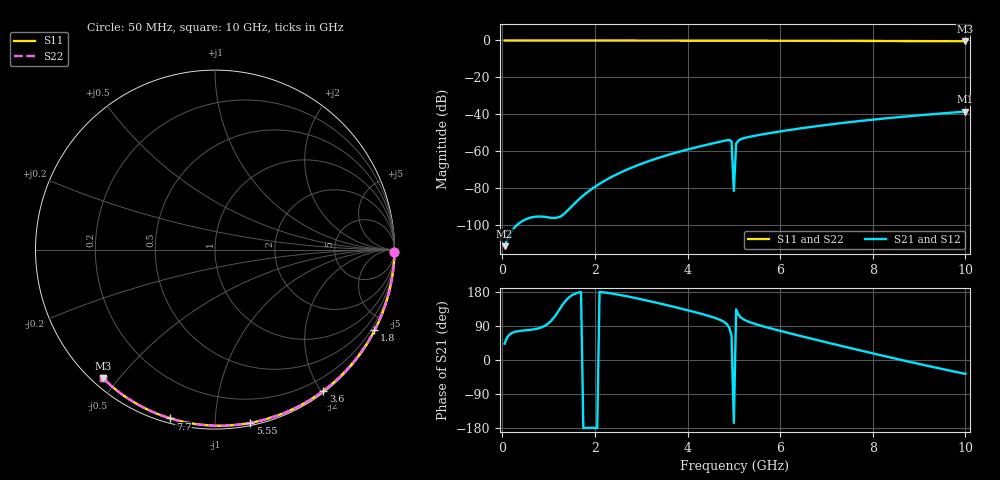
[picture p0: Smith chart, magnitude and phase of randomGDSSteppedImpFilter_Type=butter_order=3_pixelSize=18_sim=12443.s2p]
! freq	dB(S11)	phase(S11)	dB(S12)	phase(S12)
!  dB(S21)	phase(S21)	dB(S22)	phase(S22)
!S-par simulation data
#  GHz  S  DB  R 50
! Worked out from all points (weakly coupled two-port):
!   200 points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, 50 MHz to 10 GHz, reference 50 ohm
!   highest |S21| = -38.48 dB at 10 GHz (marker M1); lowest = -111.3 dB at 50 MHz (marker M2)
!   lowest |S11| = -0.4 dB at 10 GHz (marker M3), VSWR 38.80, Z = 1.56 - j22.7 ohm
!   |S11| at or under -10 dB: nowhere
!   |S22| runs from -0.4 to 0.0 dB; largest |S21 - S12| = 0
!   S11 on the Smith chart (normalised r, x): 50 MHz: open; 1.8 GHz: 0.04, -4.19; 3.6 GHz: 0.02, -2.03; 5.55 GHz: 0.02, -1.22; 7.7 GHz: 0.02, -0.77; 10 GHz: 0.03, -0.45
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0.05  -0.00 -0.8  -111.32 43.1  -111.32 43.1  -0.00 -0.8
0.9  -0.02 -13.6  -95.42 89.2  -95.42 89.2  -0.02 -13.6
1.75  -0.03 -26.1  -83.89 -179.7  -83.89 -179.7  -0.03 -26.1
1.8  -0.03 -26.9  -82.86 -179.1  -82.86 -179.1  -0.03 -26.9
1.95  -0.04 -29.1  -80.05 -178.9  -80.05 -178.9  -0.04 -29.1
2.25  -0.04 -33.4  -75.34 177.5  -75.34 177.5  -0.04 -33.4
2.55  -0.05 -37.7  -71.49 171.5  -71.49 171.5  -0.05 -37.7
2.95  -0.06 -43.4  -67.26 161.6  -67.26 161.6  -0.06 -43.4
3.4  -0.07 -49.8  -63.33 149.2  -63.33 149.2  -0.07 -49.8
3.6  -0.07 -52.5  -61.79 143.4  -61.79 143.4  -0.07 -52.5
4.2  -0.09 -60.7  -57.74 125.1  -57.74 125.1  -0.09 -60.7
4.9  -0.11 -70.1  -53.83 85.6  -53.83 85.6  -0.11 -70.1
4.95  -0.11 -70.8  -54.56 64.2  -54.56 64.2  -0.11 -70.8
5  -0.13 -71.3  -81.41 -166.0  -81.41 -166.0  -0.13 -71.3
5.05  -0.12 -72.0  -55.81 133.4  -55.81 133.4  -0.12 -72.0
5.1  -0.12 -72.6  -54.10 119.1  -54.10 119.1  -0.12 -72.6
5.15  -0.12 -73.3  -53.43 112.3  -53.43 112.3  -0.12 -73.3
5.55  -0.13 -78.5  -51.12 91.7  -51.12 91.7  -0.13 -78.5
6.7  -0.18 -92.8  -46.67 55.5  -46.67 55.5  -0.18 -92.8
7.7  -0.24 -104.8  -43.64 26.1  -43.64 26.1  -0.24 -104.8
8.35  -0.29 -112.4  -41.98 7.5  -41.98 7.5  -0.29 -112.4
10  -0.45 -131.1  -38.48 -36.6  -38.48 -36.6  -0.45 -131.1
